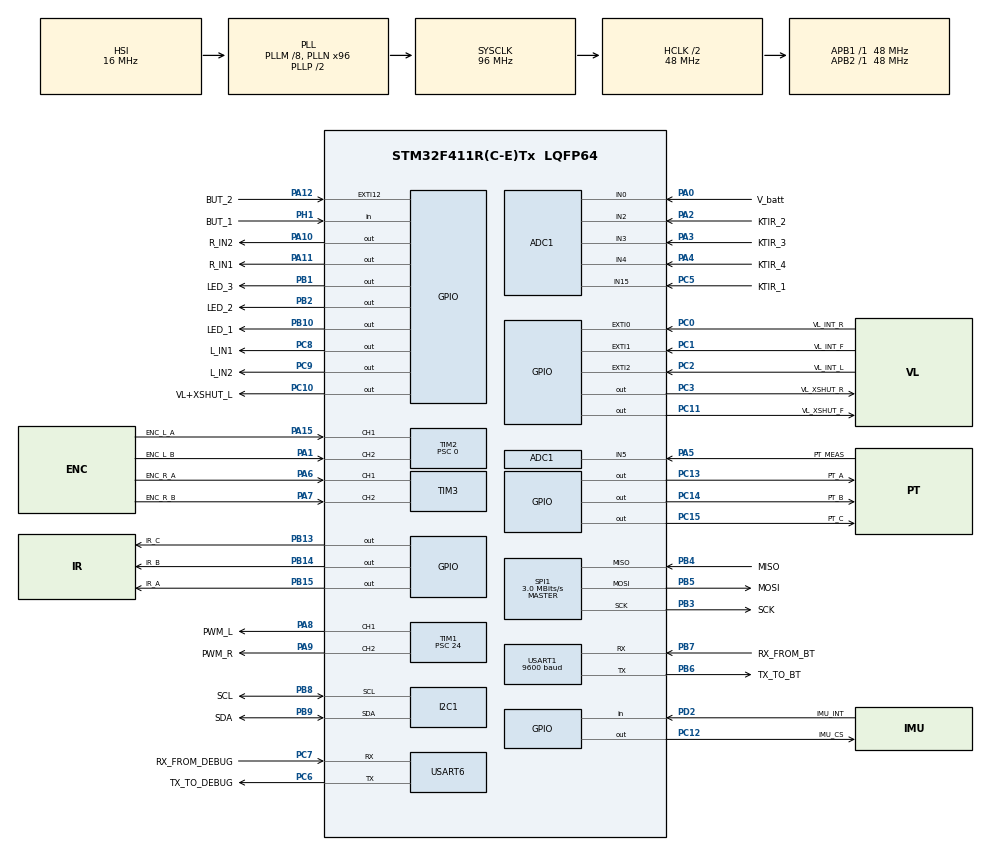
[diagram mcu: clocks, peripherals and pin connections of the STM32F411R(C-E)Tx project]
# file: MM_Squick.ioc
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ADC1.Channel-0\#ChannelRegularConversion=ADC_CHANNEL_0
ADC1.Channel-1\#ChannelRegularConversion=ADC_CHANNEL_15
ADC1.Channel-2\#ChannelRegularConversion=ADC_CHANNEL_2
ADC1.Channel-3\#ChannelRegularConversion=ADC_CHANNEL_3
ADC1.Channel-4\#ChannelRegularConversion=ADC_CHANNEL_4
ADC1.Channel-5\#ChannelRegularConversion=ADC_CHANNEL_5
ADC1.ClockPrescaler=ADC_CLOCK_SYNC_PCLK_DIV8
ADC1.ContinuousConvMode=ENABLE
ADC1.DMAContinuousRequests=ENABLE
ADC1.NbrOfConversion=6
ADC1.NbrOfConversionFlag=1
ADC1.Rank-0\#ChannelRegularConversion=1
ADC1.Rank-1\#ChannelRegularConversion=2
ADC1.Rank-2\#ChannelRegularConversion=3
ADC1.Rank-3\#ChannelRegularConversion=4
ADC1.Rank-4\#ChannelRegularConversion=5
ADC1.Rank-5\#ChannelRegularConversion=6
ADC1.SamplingTime-0\#ChannelRegularConversion=ADC_SAMPLETIME_480CYCLES
ADC1.SamplingTime-1\#ChannelRegularConversion=ADC_SAMPLETIME_480CYCLES
ADC1.SamplingTime-2\#ChannelRegularConversion=ADC_SAMPLETIME_480CYCLES
ADC1.SamplingTime-3\#ChannelRegularConversion=ADC_SAMPLETIME_480CYCLES
ADC1.SamplingTime-4\#ChannelRegularConversion=ADC_SAMPLETIME_480CYCLES
ADC1.SamplingTime-5\#ChannelRegularConversion=ADC_SAMPLETIME_480CYCLES
ADC1.ScanConvMode=ENABLE
ADC1.master=1
Dma.ADC1.0.Direction=DMA_PERIPH_TO_MEMORY
Dma.ADC1.0.FIFOMode=DMA_FIFOMODE_DISABLE
Dma.ADC1.0.Instance=DMA2_Stream0
Dma.ADC1.0.MemDataAlignment=DMA_MDATAALIGN_HALFWORD
Dma.ADC1.0.MemInc=DMA_MINC_ENABLE
Dma.ADC1.0.Mode=DMA_CIRCULAR
Dma.ADC1.0.PeriphDataAlignment=DMA_PDATAALIGN_HALFWORD
Dma.ADC1.0.PeriphInc=DMA_PINC_DISABLE
Dma.ADC1.0.Priority=DMA_PRIORITY_LOW
Dma.Request0=ADC1
I2C1.I2C_Mode=I2C_Standard
Mcu.Family=STM32F4
Mcu.Name=STM32F411R(C-E)Tx
Mcu.Package=LQFP64
NVIC.DMA2_Stream0_IRQn=true\:0\:0\:false\:false\:true\:false\:true
NVIC.EXTI0_IRQn=true\:0\:0\:false\:false\:true\:true\:true
NVIC.EXTI15_10_IRQn=true\:0\:0\:false\:false\:true\:true\:true
NVIC.EXTI1_IRQn=true\:0\:0\:false\:false\:true\:true\:true
NVIC.EXTI2_IRQn=true\:0\:0\:false\:false\:true\:true\:true
NVIC.PriorityGroup=NVIC_PRIORITYGROUP_4
NVIC.TIM1_TRG_COM_TIM11_IRQn=true\:0\:0\:false\:false\:true\:true\:true
NVIC.TIM1_UP_TIM10_IRQn=true\:0\:0\:false\:false\:true\:true\:true
NVIC.TIM2_IRQn=true\:0\:0\:false\:false\:true\:true\:true
NVIC.USART1_IRQn=true\:0\:0\:false\:false\:true\:true\:true
PA0-WKUP.GPIO_Label=V_batt
PA0-WKUP.Signal=ADCx_IN0
PA1.GPIO_Label=ENC_L_B
PA1.Signal=S_TIM2_CH2
PA10.GPIO_Label=R_IN2
PA10.Signal=GPIO_Output
PA11.GPIO_Label=R_IN1
PA11.Signal=GPIO_Output
PA12.GPIO_Label=BUT_2
PA12.Signal=GPXTI12
PA13.GPIO_Label=SYS_SWDIO
PA13.Mode=Serial_Wire
PA13.Signal=SYS_JTMS-SWDIO
PA14.GPIO_Label=SYS_SWCLK
PA14.Mode=Serial_Wire
PA14.Signal=SYS_JTCK-SWCLK
PA15.GPIO_Label=ENC_L_A
PA15.Signal=S_TIM2_CH1_ETR
PA2.GPIO_Label=KTIR_2
PA2.Signal=ADCx_IN2
PA3.GPIO_Label=KTIR_3
PA3.Signal=ADCx_IN3
PA4.GPIO_Label=KTIR_4
PA4.Signal=ADCx_IN4
PA5.GPIO_Label=PT_MEAS
PA5.Signal=ADCx_IN5
PA6.GPIO_Label=ENC_R_A
PA6.Signal=S_TIM3_CH1
PA7.GPIO_Label=ENC_R_B
PA7.Signal=S_TIM3_CH2
PA8.GPIO_Label=PWM_L
PA8.Signal=S_TIM1_CH1
PA9.GPIO_Label=PWM_R
PA9.Signal=S_TIM1_CH2
PB1.GPIO_Label=LED_3
PB1.GPIO_PuPd=GPIO_PULLUP
PB1.Signal=GPIO_Output
PB10.GPIO_Label=LED_1
PB10.GPIO_PuPd=GPIO_PULLUP
PB10.Signal=GPIO_Output
PB13.GPIO_Label=IR_C
PB13.GPIO_PuPd=GPIO_PULLDOWN
PB13.Signal=GPIO_Output
PB14.GPIO_Label=IR_B
PB14.GPIO_PuPd=GPIO_PULLDOWN
PB14.Signal=GPIO_Output
PB15.GPIO_Label=IR_A
PB15.GPIO_PuPd=GPIO_PULLDOWN
PB15.Signal=GPIO_Output
PB2.GPIO_Label=LED_2
PB2.GPIO_PuPd=GPIO_PULLUP
PB2.Signal=GPIO_Output
PB3.GPIO_Label=SCK
PB3.Mode=Full_Duplex_Master
PB3.Signal=SPI1_SCK
PB4.GPIO_Label=MISO
PB4.Mode=Full_Duplex_Master
PB4.Signal=SPI1_MISO
PB5.GPIO_Label=MOSI
PB5.Mode=Full_Duplex_Master
PB5.Signal=SPI1_MOSI
PB6.GPIO_Label=TX_TO_BT
PB6.Mode=Asynchronous
PB6.Signal=USART1_TX
PB7.GPIO_Label=RX_FROM_BT
PB7.Mode=Asynchronous
PB7.Signal=USART1_RX
PB8.GPIO_Label=SCL
PB8.Mode=I2C
PB8.Signal=I2C1_SCL
PB9.GPIO_Label=SDA
PB9.Mode=I2C
PB9.Signal=I2C1_SDA
PC0.GPIO_Label=VL_INT_R
PC0.Signal=GPXTI0
PC1.GPIO_Label=VL_INT_F
PC1.Signal=GPXTI1
PC10.GPIO_Label=VL+XSHUT_L
PC10.Signal=GPIO_Output
PC11.GPIO_Label=VL_XSHUT_F
PC11.Signal=GPIO_Output
PC12.GPIO_Label=IMU_CS
PC12.Signal=GPIO_Output
PC13-ANTI_TAMP.GPIO_Label=PT_A
PC13-ANTI_TAMP.GPIO_PuPd=GPIO_PULLDOWN
PC13-ANTI_TAMP.Signal=GPIO_Output
PC14-OSC32_IN.GPIO_Label=PT_B
PC14-OSC32_IN.GPIO_PuPd=GPIO_PULLDOWN
PC14-OSC32_IN.Signal=GPIO_Output
PC15-OSC32_OUT.GPIO_Label=PT_C
PC15-OSC32_OUT.GPIO_PuPd=GPIO_PULLDOWN
PC15-OSC32_OUT.Signal=GPIO_Output
PC2.GPIO_Label=VL_INT_L
PC2.Signal=GPXTI2
PC3.GPIO_Label=VL_XSHUT_R
PC3.Signal=GPIO_Output
PC5.GPIO_Label=KTIR_1
PC5.Signal=ADCx_IN15
PC6.GPIO_Label=TX_TO_DEBUG
PC6.Mode=Asynchronous
PC6.Signal=USART6_TX
PC7.GPIO_Label=RX_FROM_DEBUG
PC7.Mode=Asynchronous
PC7.Signal=USART6_RX
PC8.GPIO_Label=L_IN1
PC8.Signal=GPIO_Output
PC9.GPIO_Label=L_IN2
PC9.Signal=GPIO_Output
PD2.GPIO_Label=IMU_INT
PD2.Signal=GPIO_Input
PH1\ -\ OSC_OUT.GPIO_Label=BUT_1
PH1\ -\ OSC_OUT.Signal=GPIO_Input
ProjectManager.HeapSize=0x200
ProjectManager.StackSize=0x400
ProjectManager.TargetToolchain=STM32CubeIDE
RCC.48MHZClocksFreq_Value=48000000
RCC.AHBCLKDivider=RCC_SYSCLK_DIV2
RCC.AHBFreq_Value=48000000
RCC.APB1Freq_Value=48000000
RCC.APB1TimFreq_Value=48000000
RCC.APB2Freq_Value=48000000
RCC.APB2TimFreq_Value=48000000
RCC.CortexFreq_Value=48000000
RCC.HCLKFreq_Value=48000000
RCC.HSE_VALUE=25000000
RCC.HSI_VALUE=16000000
RCC.LSE_VALUE=32768
RCC.PLLM=8
RCC.PLLN=96
RCC.SYSCLKFreq_VALUE=96000000
RCC.SYSCLKSource=RCC_SYSCLKSOURCE_PLLCLK
RCC.VCOOutputFreq_Value=192000000
SH.ADCx_IN0.0=ADC1_IN0,IN0
SH.ADCx_IN15.0=ADC1_IN15,IN15
SH.ADCx_IN2.0=ADC1_IN2,IN2
SH.ADCx_IN3.0=ADC1_IN3,IN3
SH.ADCx_IN4.0=ADC1_IN4,IN4
SH.ADCx_IN5.0=ADC1_IN5,IN5
SH.S_TIM1_CH1.0=TIM1_CH1,PWM Generation1 CH1
SH.S_TIM1_CH2.0=TIM1_CH2,PWM Generation2 CH2
SH.S_TIM2_CH1_ETR.0=TIM2_CH1,Encoder_Interface
SH.S_TIM2_CH2.0=TIM2_CH2,Encoder_Interface
SH.S_TIM3_CH1.0=TIM3_CH1,Encoder_Interface
SH.S_TIM3_CH2.0=TIM3_CH2,Encoder_Interface
SPI1.BaudRatePrescaler=SPI_BAUDRATEPRESCALER_16
SPI1.CalculateBaudRate=3.0 MBits/s
SPI1.Direction=SPI_DIRECTION_2LINES
SPI1.Mode=SPI_MODE_MASTER
SPI1.VirtualType=VM_MASTER
TIM1.Channel-PWM\ Generation1\ CH1=TIM_CHANNEL_1
TIM1.Channel-PWM\ Generation2\ CH2=TIM_CHANNEL_2
TIM1.Period=9999
TIM1.Prescaler=24
TIM10.Period=999
TIM10.Prescaler=1999
TIM11.Period=9999
TIM11.Prescaler=4799
TIM2.CounterMode=TIM_COUNTERMODE_DOWN
TIM2.EncoderMode=TIM_ENCODERMODE_TI1
TIM2.IC1Filter=2
TIM2.IC2Filter=2
TIM2.Period=65535
TIM2.Prescaler=0
TIM3.EncoderMode=TIM_ENCODERMODE_TI1
TIM3.IC1Filter=2
TIM3.IC2Filter=2
USART1.BaudRate=9600
USART1.VirtualMode=VM_ASYNC
USART6.VirtualMode=VM_ASYNC
VP_TIM10_VS_ClockSourceINT.Mode=Enable_Timer
VP_TIM11_VS_ClockSourceINT.Mode=Enable_Timer
VP_TIM1_VS_ClockSourceINT.Mode=Internal
board=custom

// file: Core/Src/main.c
/* USER CODE BEGIN Header */
/**
  ******************************************************************************
  * @file           : main.c
  * @brief          : Main program body
  ******************************************************************************
  * @attention
  *
  * <h2><center>&copy; Copyright (c) 2021 STMicroelectronics.
  * All rights reserved.</center></h2>
  *
  * This software component is licensed by ST under BSD 3-Clause license,
  * the "License"; You may not use this file except in compliance with the
  * License. You may obtain a copy of the License at:
  *                        opensource.org/licenses/BSD-3-Clause
  *
  ******************************************************************************
  */
/* USER CODE END Header */
#include "main.h"

/* USER CODE BEGIN Includes */
#include "pid.h"
#include "VL53L0X.h"
/* USER CODE END Includes */

/* USER CODE BEGIN PTD */
struct encoder{
	int curr_speed; // mm/s *10
	int absolute_pos; // mm *10
};
/* USER CODE END PTD */

/* USER CODE BEGIN PD */
#define MOTOR_MAX 9999
#define ENC_ZERO 32768
/* USER CODE END PD */

ADC_HandleTypeDef hadc1;
DMA_HandleTypeDef hdma_adc1;

I2C_HandleTypeDef hi2c1;

SPI_HandleTypeDef hspi1;

TIM_HandleTypeDef htim1;
TIM_HandleTypeDef htim2;
TIM_HandleTypeDef htim3;
TIM_HandleTypeDef htim10;
TIM_HandleTypeDef htim11;

UART_HandleTypeDef huart1;
UART_HandleTypeDef huart6;

/* USER CODE BEGIN PV */
int pwm_value=0;
volatile struct encoder ENC_L, ENC_P;

int rozpocznij_pomiar=0;
int prog=0;
uint32_t pomiar[10];

int debug=0;

uint16_t predkosc_zadana = 0;
uint16_t zasilanie=0;

uint8_t bt_data;
uint8_t bt_settings[14];
int transmission_request=0;

uint8_t direction=0;
volatile uint8_t rx_flag=0;
volatile uint8_t vl_flag=0;
volatile uint8_t timer_flag=0;
volatile uint8_t adc_flag=0;
volatile short speed_mm=0;
volatile uint8_t option=0;
volatile uint8_t initialization_encoders=0;
volatile uint8_t direction_set[2]={0,0};
volatile short kp=0,ki=0,kd=0;
cpid_t pid_L, pid_P;

vl_struct VLS;
VL53L0X_DEV dev;

volatile uint16_t adc_measurements[6];

int16_t VLdistanceL=0;
int16_t VLdistanceF=0;
int16_t VLdistanceR=0;
/* USER CODE END PV */

void SystemClock_Config(void);
static void MX_GPIO_Init(void);
static void MX_DMA_Init(void);
static void MX_I2C1_Init(void);
static void MX_USART1_UART_Init(void);
static void MX_USART6_UART_Init(void);
static void MX_TIM1_Init(void);
static void MX_ADC1_Init(void);
static void MX_SPI1_Init(void);
static void MX_TIM2_Init(void);
static void MX_TIM3_Init(void);
static void MX_TIM10_Init(void);
static void MX_TIM11_Init(void);
/* USER CODE BEGIN PFP */
int _write(int file, uint8_t *ptr, int len){
	HAL_UART_Transmit(&huart1, ptr, len, 100);
	return  len;
};

int abs(int zmienna) {
	if (zmienna < 0) {
		zmienna = -zmienna;
	};
	return zmienna;
}

void read_encoders(){
	printf("LEFT  :  POS[mm] : %d     VEL[mm/s] : %d  \r\n", ENC_L.absolute_pos/10, ENC_L.curr_speed/10);
	printf("RIGHT :  POS[mm] : %d     VEL[mm/s] : %d  \r\n", ENC_P.absolute_pos/10, ENC_P.curr_speed/10);
}

void get_encoder_pos(){
	int diff=0;
	int pos_L=0, pos_P=0;
	pos_L = htim2.Instance->CNT;
	pos_P = htim3.Instance->CNT;
	htim2.Instance->CNT = ENC_ZERO;
	htim3.Instance->CNT = ENC_ZERO;

	diff = pos_L - ENC_ZERO;
	diff = diff*170/51;
	ENC_L.absolute_pos -= diff;
	ENC_L.curr_speed = - diff*463/10;

	diff = pos_P - ENC_ZERO;
	diff = diff*170/51;
	ENC_P.absolute_pos += diff;
	ENC_P.curr_speed = diff*463/10;
}

void HAL_UART_TxCpltCallback(UART_HandleTypeDef *huart){

	transmission_request=0;
	bt_data=0;
	//HAL_UART_Receive_IT(&huart1, &bt_data, 1);

}

void HAL_UART_ErrorCallback(UART_HandleTypeDef *huart){
	__NOP();
}

void HAL_UART_RxCpltCallback(UART_HandleTypeDef *huart){

	if(huart->Instance==USART1){
//		if(transmission_request==100){ 					// SET PARAMETERS
//			data_decrypt();
//			transmission_request=0;
//			bt_data=0;
//			HAL_UART_Receive_IT(&huart1, &bt_data, 1);
//		}else{											// UNRECOGNIZED OR ZERO
//			transmission_request=bt_data;
//			if(bt_data==100){
//				HAL_UART_Receive_IT(&huart1, bt_settings, 14);
//			}else if(bt_data==101){
//				data_encrypt();
//				HAL_UART_Transmit_IT(&huart1, bt_settings, 14);
//			}else{
//				HAL_UART_Receive_IT(&huart1, &bt_data, 1);
//			};
//		};
		rx_flag=1;
		if(bt_data=='w'){
			direction='w';
		}
		if(bt_data=='s'){
			direction='s';
		}
		if(bt_data=='a'){
			direction='a';
		}
		if(bt_data=='d'){
			direction='d';
		}
		if(bt_data=='p'){
			option='p';
		}
		if(bt_data==']'){
			option=']';
		}
		if(bt_data=='r'){
			option='r';
		}
		if(bt_data=='z'){
			option='z';
		}
		if(bt_data=='g'){
			option='g';
		}
		if(bt_data=='k'){
			option='k';
		}
		if(bt_data=='0'){
			speed_mm=0;
		}
		if(bt_data=='1'){
			speed_mm=100;
		}
		if(bt_data=='2'){
			speed_mm=200;
		}
		if(bt_data=='3'){
			speed_mm=300;
		}
		if(bt_data=='4'){
			speed_mm=400;
		}
		if(bt_data=='5'){
			speed_mm=500;
		}
		if(bt_data=='6'){
			speed_mm=600;
		}
		if(bt_data=='7'){
			speed_mm=700;
		}
		if(bt_data=='8'){
			speed_mm=800;
		}
		if(bt_data=='9'){
			speed_mm=900;
		}
		if(bt_data=='c'){
			option='Q';
			kp++;
		}
		if(bt_data=='v'){
			option='Q';
			kp--;
		}
		if(bt_data=='b'){
			option='Q';
			ki++;
		}
		if(bt_data=='n'){
			option='Q';
			ki--;
		}
		if(bt_data=='m'){
			option='Q';
			kd++;
		}
		if(bt_data==','){
			option='Q';
			kd--;
		}
		if(bt_data=='='){
			option='=';
		}
		HAL_UART_Receive_IT(&huart1, &bt_data, 1);
	};

}

void HAL_TIM_PeriodElapsedCallback(TIM_HandleTypeDef *htim){
	if(htim->Instance==TIM10){
		get_encoder_pos();
		if(initialization_encoders==0){
			initialization_encoders=1;
			ENC_P.absolute_pos=0;
			ENC_L.absolute_pos=0;

		}
		timer_flag=1;
	}
	if(htim->Instance==TIM11){
		adc_flag=1;
	}
}

void HAL_GPIO_EXTI_Callback(uint16_t GPIO_Pin) {
	if(GPIO_Pin==BUT_2_Pin){
		HAL_GPIO_TogglePin(LED_2_GPIO_Port, LED_2_Pin);
		pwm_value-=50;
		printf("Kliknieto BUT_2  PWM = %d \r\n", pwm_value);
	}
	if(GPIO_Pin == VL_INT_L_Pin){  // left sensor
		printf("LEWY READY \r\n");
		VL_Data_Ready[0] = 1;
		vl_flag=1;
	}
	if(GPIO_Pin == VL_INT_F_Pin){  // front sensor
		printf("FRONT READY \r\n");
		VL_Data_Ready[1] = 1;
		vl_flag=1;
	}
	if(GPIO_Pin == VL_INT_R_Pin){  // right sensor
		printf("PRAWY READY \r\n");
		VL_Data_Ready[2] = 1;
		vl_flag=1;
	}
}

void PWM(int lewy, int prawy) {
	if (lewy >= 0) {
		if (lewy > MOTOR_MAX) {
			lewy = MOTOR_MAX;
		};
		if(direction_set[0]!=1){
			HAL_GPIO_WritePin(L_IN1_GPIO_Port, L_IN1_Pin, 1);
			HAL_GPIO_WritePin(L_IN2_GPIO_Port, L_IN2_Pin, 0);
			direction_set[0]=1;
		}
	} else if (lewy < 0) {
		if (lewy < -MOTOR_MAX) {
			lewy = -MOTOR_MAX;
		};
		if(direction_set[0]!=2){
			HAL_GPIO_WritePin(L_IN1_GPIO_Port, L_IN1_Pin, 0);
			HAL_GPIO_WritePin(L_IN2_GPIO_Port, L_IN2_Pin, 1);
			direction_set[0]=2;
		}

	};

	if (prawy >= 0) {
		if (prawy > MOTOR_MAX) {
			prawy = MOTOR_MAX;
		};
		if(direction_set[1]!=1){
			HAL_GPIO_WritePin(R_IN1_GPIO_Port, R_IN1_Pin, 0);
			HAL_GPIO_WritePin(R_IN2_GPIO_Port, R_IN2_Pin, 1);
			direction_set[1]=1;
		}
	} else if (prawy < 0) {
		if (prawy < -MOTOR_MAX) {
			prawy = -MOTOR_MAX;
		};
		if(direction_set[1]!=2){
			HAL_GPIO_WritePin(R_IN1_GPIO_Port, R_IN1_Pin, 1);
			HAL_GPIO_WritePin(R_IN2_GPIO_Port, R_IN2_Pin, 0);
			direction_set[1]=2;
		}
	};

	if(prawy==0 && lewy==0){
		direction_set[1]=0;
		direction_set[0]=0;
		HAL_GPIO_WritePin(R_IN1_GPIO_Port, R_IN1_Pin, 1);
		HAL_GPIO_WritePin(R_IN2_GPIO_Port, R_IN2_Pin, 1);
		HAL_GPIO_WritePin(L_IN1_GPIO_Port, L_IN1_Pin, 1);
		HAL_GPIO_WritePin(L_IN2_GPIO_Port, L_IN2_Pin, 1);

	}
	__HAL_TIM_SET_COMPARE(&htim1 , TIM_CHANNEL_1, abs(lewy));
	__HAL_TIM_SET_COMPARE(&htim1 , TIM_CHANNEL_2, abs(prawy));
}

void pos_and_speed_measurement(){
	PWM(speed_mm*10, speed_mm*10);
	for(int i=0; i<10; i++){
		HAL_Delay(100);
		read_encoders();
	}
	PWM(0,0);

}

void initialize_PID(short k_p, short k_i, short k_d){
	  //Regulator został nastrojony przy pomocy metody ręcznej
	  // Najpierw zmieniając Kp aż do wystąpienia oscylacji i wybrać polowe wartosci
	  // Potem ustalając Ki az do skrocenia czasu regulacji
	  // Na koncu regulacja Kd

	  pid_init(&pid_L, kp*0.1f, ki*0.01f, kd*0.01f, 4, 40);  // 10ms ze wzgledu na 25Hz
	  pid_L.p_max = pid_scale(&pid_L, MOTOR_MAX);
	  pid_L.p_min = pid_scale(&pid_L, -MOTOR_MAX);
	  pid_L.i_max = pid_scale(&pid_L, MOTOR_MAX);
	  pid_L.i_min = pid_scale(&pid_L, -MOTOR_MAX);
	  pid_L.d_max = pid_scale(&pid_L, MOTOR_MAX);
	  pid_L.d_min = pid_scale(&pid_L, -MOTOR_MAX);
	  pid_L.total_max = pid_scale(&pid_L, MOTOR_MAX);
	  pid_L.total_min = pid_scale(&pid_L, -MOTOR_MAX);

	  //Regulator został nastrojony przy pomocy metody ręcznej
	  // Najpierw zmieniając Kp aż do wystąpienia oscylacji i wybrać polowe wartosci
	  // Potem ustalając Ki az do skrocenia czasu regulacji
	  // Na koncu regulacja Kd
	  pid_init(&pid_P, kp*0.1f, ki*0.01f, kd*0.01f, 4, 40);  // 40ms ze wzgledu na 25Hz
	  pid_P.p_max = pid_scale(&pid_P, MOTOR_MAX);
	  pid_P.p_min = pid_scale(&pid_P, -MOTOR_MAX);
	  pid_P.i_max = pid_scale(&pid_P, MOTOR_MAX);
	  pid_P.i_min = pid_scale(&pid_P, -MOTOR_MAX);
	  pid_P.d_max = pid_scale(&pid_P, MOTOR_MAX);
	  pid_P.d_min = pid_scale(&pid_P, -MOTOR_MAX);
	  pid_P.total_max = pid_scale(&pid_P, MOTOR_MAX);
	  pid_P.total_min = pid_scale(&pid_P, -MOTOR_MAX);
}

void PT_change_sensor(uint8_t sensor){
	if(sensor==0){
		HAL_GPIO_WritePin(PT_A_GPIO_Port, PT_A_Pin, GPIO_PIN_RESET);
		HAL_GPIO_WritePin(PT_B_GPIO_Port, PT_B_Pin, GPIO_PIN_RESET);
		HAL_GPIO_WritePin(PT_C_GPIO_Port, PT_C_Pin, GPIO_PIN_RESET);
	}
	else if(sensor==1){
		HAL_GPIO_WritePin(PT_A_GPIO_Port, PT_A_Pin, GPIO_PIN_SET);
		HAL_GPIO_WritePin(PT_B_GPIO_Port, PT_B_Pin, GPIO_PIN_RESET);
		HAL_GPIO_WritePin(PT_C_GPIO_Port, PT_C_Pin, GPIO_PIN_RESET);
	}
	else if(sensor==2){
		HAL_GPIO_WritePin(PT_A_GPIO_Port, PT_A_Pin, GPIO_PIN_RESET);
		HAL_GPIO_WritePin(PT_B_GPIO_Port, PT_B_Pin, GPIO_PIN_SET);
		HAL_GPIO_WritePin(PT_C_GPIO_Port, PT_C_Pin, GPIO_PIN_RESET);
	}
	else if(sensor==3){
		HAL_GPIO_WritePin(PT_A_GPIO_Port, PT_A_Pin, GPIO_PIN_SET);
		HAL_GPIO_WritePin(PT_B_GPIO_Port, PT_B_Pin, GPIO_PIN_SET);
		HAL_GPIO_WritePin(PT_C_GPIO_Port, PT_C_Pin, GPIO_PIN_RESET);
	}
	else if(sensor==4){
		HAL_GPIO_WritePin(PT_A_GPIO_Port, PT_A_Pin, GPIO_PIN_RESET);
		HAL_GPIO_WritePin(PT_B_GPIO_Port, PT_B_Pin, GPIO_PIN_RESET);
		HAL_GPIO_WritePin(PT_C_GPIO_Port, PT_C_Pin, GPIO_PIN_RESET);
	}
	else if(sensor==5){
		HAL_GPIO_WritePin(PT_A_GPIO_Port, PT_A_Pin, GPIO_PIN_SET);
		HAL_GPIO_WritePin(PT_B_GPIO_Port, PT_B_Pin, GPIO_PIN_RESET);
		HAL_GPIO_WritePin(PT_C_GPIO_Port, PT_C_Pin, GPIO_PIN_SET);
	}
	else{
		HAL_GPIO_WritePin(PT_A_GPIO_Port, PT_A_Pin, GPIO_PIN_SET);
		HAL_GPIO_WritePin(PT_B_GPIO_Port, PT_B_Pin, GPIO_PIN_SET);
		HAL_GPIO_WritePin(PT_C_GPIO_Port, PT_C_Pin, GPIO_PIN_SET);
	}
}

void IR_set(uint8_t diode){
	if(diode==0){
		HAL_GPIO_WritePin(IR_A_GPIO_Port, IR_A_Pin, GPIO_PIN_RESET);
		HAL_GPIO_WritePin(IR_B_GPIO_Port, IR_B_Pin, GPIO_PIN_RESET);
		HAL_GPIO_WritePin(IR_C_GPIO_Port, IR_C_Pin, GPIO_PIN_RESET);
	}
	else if(diode==1){
		HAL_GPIO_WritePin(IR_A_GPIO_Port, IR_A_Pin, GPIO_PIN_SET);
		HAL_GPIO_WritePin(IR_B_GPIO_Port, IR_B_Pin, GPIO_PIN_RESET);
		HAL_GPIO_WritePin(IR_C_GPIO_Port, IR_C_Pin, GPIO_PIN_RESET);
	}
	else if(diode==2){
		HAL_GPIO_WritePin(IR_A_GPIO_Port, IR_A_Pin, GPIO_PIN_RESET);
		HAL_GPIO_WritePin(IR_B_GPIO_Port, IR_B_Pin, GPIO_PIN_SET);
		HAL_GPIO_WritePin(IR_C_GPIO_Port, IR_C_Pin, GPIO_PIN_RESET);
	}
	else if(diode==3){
		HAL_GPIO_WritePin(IR_A_GPIO_Port, IR_A_Pin, GPIO_PIN_SET);
		HAL_GPIO_WritePin(IR_B_GPIO_Port, IR_B_Pin, GPIO_PIN_SET);
		HAL_GPIO_WritePin(IR_C_GPIO_Port, IR_C_Pin, GPIO_PIN_RESET);
	}
	else if(diode==4){
		HAL_GPIO_WritePin(IR_A_GPIO_Port, IR_A_Pin, GPIO_PIN_RESET);
		HAL_GPIO_WritePin(IR_B_GPIO_Port, IR_B_Pin, GPIO_PIN_RESET);
		HAL_GPIO_WritePin(IR_C_GPIO_Port, IR_C_Pin, GPIO_PIN_RESET);
	}
	else if(diode==5){
		HAL_GPIO_WritePin(IR_A_GPIO_Port, IR_A_Pin, GPIO_PIN_SET);
		HAL_GPIO_WritePin(IR_B_GPIO_Port, IR_B_Pin, GPIO_PIN_RESET);
		HAL_GPIO_WritePin(IR_C_GPIO_Port, IR_C_Pin, GPIO_PIN_SET);
	}
	else{
		HAL_GPIO_WritePin(IR_A_GPIO_Port, IR_A_Pin, GPIO_PIN_SET);
		HAL_GPIO_WritePin(IR_B_GPIO_Port, IR_B_Pin, GPIO_PIN_SET);
		HAL_GPIO_WritePin(IR_C_GPIO_Port, IR_C_Pin, GPIO_PIN_SET);
	}
}

void IR_reset(){
	IR_set(99);
}

/* USER CODE END PFP */

int main(void)
{
  /* USER CODE BEGIN 1 */
	int L_pwm_pid=0, P_pwm_pid=0;
	uint8_t sensor;
  /* USER CODE END 1 */

  /* MCU Configuration--------------------------------------------------------*/

  /* Reset of all peripherals, Initializes the Flash interface and the Systick. */
  HAL_Init();

  /* Configure the system clock */
  SystemClock_Config();

  /* Initialize all configured peripherals */
  MX_GPIO_Init();
  MX_DMA_Init();
  MX_I2C1_Init();
  MX_USART1_UART_Init();
  MX_USART6_UART_Init();
  MX_TIM1_Init();
  MX_ADC1_Init();
  MX_SPI1_Init();
  MX_TIM2_Init();
  MX_TIM3_Init();
  MX_TIM10_Init();
  MX_TIM11_Init();
  /* USER CODE BEGIN 2 */
  __HAL_TIM_SET_COMPARE(&htim1 , TIM_CHANNEL_1, 0 );
  __HAL_TIM_SET_COMPARE(&htim1 , TIM_CHANNEL_2, 0 );
  HAL_TIM_PWM_Start(&htim1 , TIM_CHANNEL_1);
  HAL_TIM_PWM_Start(&htim1 , TIM_CHANNEL_2);
  HAL_GPIO_WritePin(L_IN1_GPIO_Port, L_IN1_Pin, GPIO_PIN_RESET);
  HAL_GPIO_WritePin(L_IN2_GPIO_Port, L_IN2_Pin, GPIO_PIN_SET);
  HAL_GPIO_WritePin(R_IN1_GPIO_Port, R_IN1_Pin, GPIO_PIN_RESET);
  HAL_GPIO_WritePin(R_IN2_GPIO_Port, R_IN2_Pin, GPIO_PIN_SET);
  HAL_GPIO_WritePin(LED_1_GPIO_Port, LED_1_Pin, GPIO_PIN_SET);
  HAL_GPIO_WritePin(LED_2_GPIO_Port, LED_2_Pin, GPIO_PIN_SET);
  HAL_GPIO_WritePin(LED_3_GPIO_Port, LED_3_Pin, GPIO_PIN_SET);
  HAL_UART_Receive_IT(&huart1, &bt_data, 1);
  VL_Init_All(&hi2c1);
  HAL_TIM_Base_Start_IT(&htim10);
  HAL_TIM_Base_Start_IT(&htim11);
  HAL_TIM_Encoder_Start(&htim3, TIM_CHANNEL_ALL);
  HAL_TIM_Encoder_Start(&htim2, TIM_CHANNEL_ALL);
  htim2.Instance->CNT = ENC_ZERO;
  htim3.Instance->CNT = ENC_ZERO;

  initialize_PID(kp, ki, kd);

  HAL_ADC_Start_DMA(&hadc1, adc_measurements, 6);

  /* USER CODE END 2 */

  /* Infinite loop */
  while (1)
  {

    /* USER CODE BEGIN 3 */
	  if(adc_flag==1){

		  adc_flag=0;
	  }
	  if(adc_measurements[0]<2700){
		  HAL_Delay(1000);
		  HAL_GPIO_TogglePin(LED_3_GPIO_Port, LED_3_Pin);
	  }else{
		  if(timer_flag==1){
		  		  timer_flag=0;
		  		  L_pwm_pid = pid_calc(&pid_L, ENC_L.curr_speed, speed_mm*10);
		  		  P_pwm_pid = pid_calc(&pid_P, ENC_P.curr_speed, speed_mm*10);
		  		  if(option=='g'){
		  			  printf("SET: %d     MEAS:  %d     RES:  %d \r\n", speed_mm*10, ENC_L.curr_speed, L_pwm_pid );
		  			  PWM(speed_mm*10+L_pwm_pid, speed_mm*10+P_pwm_pid);
		  		  }
		  	  }
		  	  if(rx_flag==1){
		  		  switch(direction){
					 case 'w':
						  PWM(speed_mm*10,speed_mm*10);
						  break;
					  case 'a':
						  PWM(-speed_mm*6,speed_mm*6);
						  break;
					  case 's':
						  PWM(-speed_mm*10,-speed_mm*10);
						  break;
					  case 'd':
						  PWM(speed_mm*6,-speed_mm*6);
						  break;
		  		  }
		  		  if(direction != ' '){
		  			  HAL_Delay(100);
		  			  printf("Stopping\r\n");
		  			  PWM(0,0);
		  			  direction=' ';
		  		  }

		  		  switch(option){
		  		case 'k':
					  sensor = speed_mm/100;
					  printf("Measuring IR %d sensor value .... \r\n", sensor);
					  PT_change_sensor(sensor);
					  IR_set(sensor);
					  HAL_Delay(250);
					  printf("ADC MEASUREMENTS \r\n");
					  printf(" Batt : %d \r\n", adc_measurements[0]);
					  printf(" KTIR_1 : %d \r\n", adc_measurements[1]);
					  printf(" KTIR_2 : %d \r\n", adc_measurements[2]);
					  printf(" KTIR_3 : %d \r\n", adc_measurements[3]);
					  printf(" KTIR_4 : %d \r\n", adc_measurements[4]);
					  printf(" IR sensor : %d \r\n", adc_measurements[5]);
					  option=' ';
					  break;
		  		  case 'p':
		  			  read_encoders();
		  			  option=' ';
		  			  break;
		  		  case 'Q':
		  			  printf("Kp %d  Ki  %d  Kd  %d \r\n", kp, ki, kd );
		  			  initialize_PID(kp, ki, kd);
		  			  break;
		  		  case 'z':
		  			  ENC_L.absolute_pos=0;
		  			  ENC_P.absolute_pos=0;
		  			  option=' ';
		  			  break;
		  		  case ']':
		  			  pos_and_speed_measurement();
		  			  option=' ';
		  			  break;
		  		  case 'r':
		  			  PWM(speed_mm*10, speed_mm*10);
		  			  option=' ';
		  			  break;
		  		  case '=':
		  			f_SH_ClearMemory(VLS.MEMORY);
		  			printf("Clear memory VL\r\n");
		  			VL_Check();
		  			VL_single_measurement_blocking(dev, VLdistanceL);
		  			printf("VL_L: %d %d \r\n", VLS.MEMORY[0], VLS.STATE[0]);
		  			break;
		  		  case 'g':
		  			  break;
		  		  }
		  		  rx_flag=0;
		  	  }
	  }
  }
  /* USER CODE END 3 */
}

void SystemClock_Config(void)
{
  RCC_OscInitTypeDef RCC_OscInitStruct = {0};
  RCC_ClkInitTypeDef RCC_ClkInitStruct = {0};

  /** Configure the main internal regulator output voltage
  */
  __HAL_RCC_PWR_CLK_ENABLE();
  __HAL_PWR_VOLTAGESCALING_CONFIG(PWR_REGULATOR_VOLTAGE_SCALE1);
  /** Initializes the RCC Oscillators according to the specified parameters
  * in the RCC_OscInitTypeDef structure.
  */
  RCC_OscInitStruct.OscillatorType = RCC_OSCILLATORTYPE_HSI;
  RCC_OscInitStruct.HSIState = RCC_HSI_ON;
  RCC_OscInitStruct.HSICalibrationValue = RCC_HSICALIBRATION_DEFAULT;
  RCC_OscInitStruct.PLL.PLLState = RCC_PLL_ON;
  RCC_OscInitStruct.PLL.PLLSource = RCC_PLLSOURCE_HSI;
  RCC_OscInitStruct.PLL.PLLM = 8;
  RCC_OscInitStruct.PLL.PLLN = 96;
  RCC_OscInitStruct.PLL.PLLP = RCC_PLLP_DIV2;
  RCC_OscInitStruct.PLL.PLLQ = 4;
  if (HAL_RCC_OscConfig(&RCC_OscInitStruct) != HAL_OK)
  {
    Error_Handler();
  }
  /** Initializes the CPU, AHB and APB buses clocks
  */
  RCC_ClkInitStruct.ClockType = RCC_CLOCKTYPE_HCLK|RCC_CLOCKTYPE_SYSCLK
                              |RCC_CLOCKTYPE_PCLK1|RCC_CLOCKTYPE_PCLK2;
  RCC_ClkInitStruct.SYSCLKSource = RCC_SYSCLKSOURCE_PLLCLK;
  RCC_ClkInitStruct.AHBCLKDivider = RCC_SYSCLK_DIV2;
  RCC_ClkInitStruct.APB1CLKDivider = RCC_HCLK_DIV1;
  RCC_ClkInitStruct.APB2CLKDivider = RCC_HCLK_DIV1;

  if (HAL_RCC_ClockConfig(&RCC_ClkInitStruct, FLASH_LATENCY_1) != HAL_OK)
  {
    Error_Handler();
  }
}

static void MX_ADC1_Init(void)
{

  ADC_ChannelConfTypeDef sConfig = {0};

  /** Configure the global features of the ADC (Clock, Resolution, Data Alignment and number of conversion)
  */
  hadc1.Instance = ADC1;
  hadc1.Init.ClockPrescaler = ADC_CLOCK_SYNC_PCLK_DIV8;
  hadc1.Init.Resolution = ADC_RESOLUTION_12B;
  hadc1.Init.ScanConvMode = ENABLE;
  hadc1.Init.ContinuousConvMode = ENABLE;
  hadc1.Init.DiscontinuousConvMode = DISABLE;
  hadc1.Init.ExternalTrigConvEdge = ADC_EXTERNALTRIGCONVEDGE_NONE;
  hadc1.Init.ExternalTrigConv = ADC_SOFTWARE_START;
  hadc1.Init.DataAlign = ADC_DATAALIGN_RIGHT;
  hadc1.Init.NbrOfConversion = 6;
  hadc1.Init.DMAContinuousRequests = ENABLE;
  hadc1.Init.EOCSelection = ADC_EOC_SINGLE_CONV;
  if (HAL_ADC_Init(&hadc1) != HAL_OK)
  {
    Error_Handler();
  }
  /** Configure for the selected ADC regular channel its corresponding rank in the sequencer and its sample time.
  */
  sConfig.Channel = ADC_CHANNEL_0;
  sConfig.Rank = 1;
  sConfig.SamplingTime = ADC_SAMPLETIME_480CYCLES;
  if (HAL_ADC_ConfigChannel(&hadc1, &sConfig) != HAL_OK)
  {
    Error_Handler();
  }
  /** Configure for the selected ADC regular channel its corresponding rank in the sequencer and its sample time.
  */
  sConfig.Channel = ADC_CHANNEL_15;
  sConfig.Rank = 2;
  if (HAL_ADC_ConfigChannel(&hadc1, &sConfig) != HAL_OK)
  {
    Error_Handler();
  }
  /** Configure for the selected ADC regular channel its corresponding rank in the sequencer and its sample time.
  */
  sConfig.Channel = ADC_CHANNEL_2;
  sConfig.Rank = 3;
  if (HAL_ADC_ConfigChannel(&hadc1, &sConfig) != HAL_OK)
  {
    Error_Handler();
  }
  /** Configure for the selected ADC regular channel its corresponding rank in the sequencer and its sample time.
  */
  sConfig.Channel = ADC_CHANNEL_3;
  sConfig.Rank = 4;
  if (HAL_ADC_ConfigChannel(&hadc1, &sConfig) != HAL_OK)
  {
    Error_Handler();
  }
  /** Configure for the selected ADC regular channel its corresponding rank in the sequencer and its sample time.
  */
  sConfig.Channel = ADC_CHANNEL_4;
  sConfig.Rank = 5;
  if (HAL_ADC_ConfigChannel(&hadc1, &sConfig) != HAL_OK)
  {
    Error_Handler();
  }
  /** Configure for the selected ADC regular channel its corresponding rank in the sequencer and its sample time.
  */
  sConfig.Channel = ADC_CHANNEL_5;
  sConfig.Rank = 6;
  if (HAL_ADC_ConfigChannel(&hadc1, &sConfig) != HAL_OK)
  {
    Error_Handler();
  }

}

static void MX_I2C1_Init(void)
{

  hi2c1.Instance = I2C1;
  hi2c1.Init.ClockSpeed = 100000;
  hi2c1.Init.DutyCycle = I2C_DUTYCYCLE_2;
  hi2c1.Init.OwnAddress1 = 0;
  hi2c1.Init.AddressingMode = I2C_ADDRESSINGMODE_7BIT;
  hi2c1.Init.DualAddressMode = I2C_DUALADDRESS_DISABLE;
  hi2c1.Init.OwnAddress2 = 0;
  hi2c1.Init.GeneralCallMode = I2C_GENERALCALL_DISABLE;
  hi2c1.Init.NoStretchMode = I2C_NOSTRETCH_DISABLE;
  if (HAL_I2C_Init(&hi2c1) != HAL_OK)
  {
    Error_Handler();
  }

}

static void MX_SPI1_Init(void)
{

  /* SPI1 parameter configuration*/
  hspi1.Instance = SPI1;
  hspi1.Init.Mode = SPI_MODE_MASTER;
  hspi1.Init.Direction = SPI_DIRECTION_2LINES;
  hspi1.Init.DataSize = SPI_DATASIZE_8BIT;
  hspi1.Init.CLKPolarity = SPI_POLARITY_LOW;
  hspi1.Init.CLKPhase = SPI_PHASE_1EDGE;
  hspi1.Init.NSS = SPI_NSS_SOFT;
  hspi1.Init.BaudRatePrescaler = SPI_BAUDRATEPRESCALER_16;
  hspi1.Init.FirstBit = SPI_FIRSTBIT_MSB;
  hspi1.Init.TIMode = SPI_TIMODE_DISABLE;
  hspi1.Init.CRCCalculation = SPI_CRCCALCULATION_DISABLE;
  hspi1.Init.CRCPolynomial = 10;
  if (HAL_SPI_Init(&hspi1) != HAL_OK)
  {
    Error_Handler();
  }

}

static void MX_TIM1_Init(void)
{

  TIM_ClockConfigTypeDef sClockSourceConfig = {0};
  TIM_MasterConfigTypeDef sMasterConfig = {0};
  TIM_OC_InitTypeDef sConfigOC = {0};
  TIM_BreakDeadTimeConfigTypeDef sBreakDeadTimeConfig = {0};

  htim1.Instance = TIM1;
  htim1.Init.Prescaler = 24;
  htim1.Init.CounterMode = TIM_COUNTERMODE_UP;
  htim1.Init.Period = 9999;
  htim1.Init.ClockDivision = TIM_CLOCKDIVISION_DIV1;
  htim1.Init.RepetitionCounter = 0;
  htim1.Init.AutoReloadPreload = TIM_AUTORELOAD_PRELOAD_DISABLE;
  if (HAL_TIM_Base_Init(&htim1) != HAL_OK)
  {
    Error_Handler();
  }
  sClockSourceConfig.ClockSource = TIM_CLOCKSOURCE_INTERNAL;
  if (HAL_TIM_ConfigClockSource(&htim1, &sClockSourceConfig) != HAL_OK)
  {
    Error_Handler();
  }
  if (HAL_TIM_PWM_Init(&htim1) != HAL_OK)
  {
    Error_Handler();
  }
  sMasterConfig.MasterOutputTrigger = TIM_TRGO_RESET;
  sMasterConfig.MasterSlaveMode = TIM_MASTERSLAVEMODE_DISABLE;
  if (HAL_TIMEx_MasterConfigSynchronization(&htim1, &sMasterConfig) != HAL_OK)
  {
    Error_Handler();
  }
  sConfigOC.OCMode = TIM_OCMODE_PWM1;
  sConfigOC.Pulse = 0;
  sConfigOC.OCPolarity = TIM_OCPOLARITY_HIGH;
  sConfigOC.OCNPolarity = TIM_OCNPOLARITY_HIGH;
  sConfigOC.OCFastMode = TIM_OCFAST_DISABLE;
  sConfigOC.OCIdleState = TIM_OCIDLESTATE_RESET;
  sConfigOC.OCNIdleState = TIM_OCNIDLESTATE_RESET;
  if (HAL_TIM_PWM_ConfigChannel(&htim1, &sConfigOC, TIM_CHANNEL_1) != HAL_OK)
  {
    Error_Handler();
  }
  if (HAL_TIM_PWM_ConfigChannel(&htim1, &sConfigOC, TIM_CHANNEL_2) != HAL_OK)
  {
    Error_Handler();
  }
  sBreakDeadTimeConfig.OffStateRunMode = TIM_OSSR_DISABLE;
  sBreakDeadTimeConfig.OffStateIDLEMode = TIM_OSSI_DISABLE;
  sBreakDeadTimeConfig.LockLevel = TIM_LOCKLEVEL_OFF;
  sBreakDeadTimeConfig.DeadTime = 0;
  sBreakDeadTimeConfig.BreakState = TIM_BREAK_DISABLE;
  sBreakDeadTimeConfig.BreakPolarity = TIM_BREAKPOLARITY_HIGH;
  sBreakDeadTimeConfig.AutomaticOutput = TIM_AUTOMATICOUTPUT_DISABLE;
  if (HAL_TIMEx_ConfigBreakDeadTime(&htim1, &sBreakDeadTimeConfig) != HAL_OK)
  {
    Error_Handler();
  }
  HAL_TIM_MspPostInit(&htim1);

}

static void MX_TIM2_Init(void)
{

  TIM_Encoder_InitTypeDef sConfig = {0};
  TIM_MasterConfigTypeDef sMasterConfig = {0};

  htim2.Instance = TIM2;
  htim2.Init.Prescaler = 0;
  htim2.Init.CounterMode = TIM_COUNTERMODE_DOWN;
  htim2.Init.Period = 65535;
  htim2.Init.ClockDivision = TIM_CLOCKDIVISION_DIV1;
  htim2.Init.AutoReloadPreload = TIM_AUTORELOAD_PRELOAD_DISABLE;
  sConfig.EncoderMode = TIM_ENCODERMODE_TI1;
  sConfig.IC1Polarity = TIM_ICPOLARITY_RISING;
  sConfig.IC1Selection = TIM_ICSELECTION_DIRECTTI;
  sConfig.IC1Prescaler = TIM_ICPSC_DIV1;
  sConfig.IC1Filter = 2;
  sConfig.IC2Polarity = TIM_ICPOLARITY_RISING;
  sConfig.IC2Selection = TIM_ICSELECTION_DIRECTTI;
  sConfig.IC2Prescaler = TIM_ICPSC_DIV1;
  sConfig.IC2Filter = 2;
  if (HAL_TIM_Encoder_Init(&htim2, &sConfig) != HAL_OK)
  {
    Error_Handler();
  }
  sMasterConfig.MasterOutputTrigger = TIM_TRGO_RESET;
  sMasterConfig.MasterSlaveMode = TIM_MASTERSLAVEMODE_DISABLE;
  if (HAL_TIMEx_MasterConfigSynchronization(&htim2, &sMasterConfig) != HAL_OK)
  {
    Error_Handler();
  }

}

static void MX_TIM3_Init(void)
{

  TIM_Encoder_InitTypeDef sConfig = {0};
  TIM_MasterConfigTypeDef sMasterConfig = {0};

  htim3.Instance = TIM3;
  htim3.Init.Prescaler = 0;
  htim3.Init.CounterMode = TIM_COUNTERMODE_UP;
  htim3.Init.Period = 65535;
  htim3.Init.ClockDivision = TIM_CLOCKDIVISION_DIV1;
  htim3.Init.AutoReloadPreload = TIM_AUTORELOAD_PRELOAD_DISABLE;
  sConfig.EncoderMode = TIM_ENCODERMODE_TI1;
  sConfig.IC1Polarity = TIM_ICPOLARITY_RISING;
  sConfig.IC1Selection = TIM_ICSELECTION_DIRECTTI;
  sConfig.IC1Prescaler = TIM_ICPSC_DIV1;
  sConfig.IC1Filter = 2;
  sConfig.IC2Polarity = TIM_ICPOLARITY_RISING;
  sConfig.IC2Selection = TIM_ICSELECTION_DIRECTTI;
  sConfig.IC2Prescaler = TIM_ICPSC_DIV1;
  sConfig.IC2Filter = 2;
  if (HAL_TIM_Encoder_Init(&htim3, &sConfig) != HAL_OK)
  {
    Error_Handler();
  }
  sMasterConfig.MasterOutputTrigger = TIM_TRGO_RESET;
  sMasterConfig.MasterSlaveMode = TIM_MASTERSLAVEMODE_DISABLE;
  if (HAL_TIMEx_MasterConfigSynchronization(&htim3, &sMasterConfig) != HAL_OK)
  {
    Error_Handler();
  }

}

static void MX_TIM10_Init(void)
{

  htim10.Instance = TIM10;
  htim10.Init.Prescaler = 1999;
  htim10.Init.CounterMode = TIM_COUNTERMODE_UP;
  htim10.Init.Period = 999;
  htim10.Init.ClockDivision = TIM_CLOCKDIVISION_DIV1;
  htim10.Init.AutoReloadPreload = TIM_AUTORELOAD_PRELOAD_DISABLE;
  if (HAL_TIM_Base_Init(&htim10) != HAL_OK)
  {
    Error_Handler();
  }

}

static void MX_TIM11_Init(void)
{

  htim11.Instance = TIM11;
  htim11.Init.Prescaler = 4799;
  htim11.Init.CounterMode = TIM_COUNTERMODE_UP;
  htim11.Init.Period = 9999;
  htim11.Init.ClockDivision = TIM_CLOCKDIVISION_DIV1;
  htim11.Init.AutoReloadPreload = TIM_AUTORELOAD_PRELOAD_DISABLE;
  if (HAL_TIM_Base_Init(&htim11) != HAL_OK)
  {
    Error_Handler();
  }

}

static void MX_USART1_UART_Init(void)
{

  huart1.Instance = USART1;
  huart1.Init.BaudRate = 9600;
  huart1.Init.WordLength = UART_WORDLENGTH_8B;
  huart1.Init.StopBits = UART_STOPBITS_1;
  huart1.Init.Parity = UART_PARITY_NONE;
  huart1.Init.Mode = UART_MODE_TX_RX;
  huart1.Init.HwFlowCtl = UART_HWCONTROL_NONE;
  huart1.Init.OverSampling = UART_OVERSAMPLING_16;
  if (HAL_UART_Init(&huart1) != HAL_OK)
  {
    Error_Handler();
  }

}

static void MX_USART6_UART_Init(void)
{

  huart6.Instance = USART6;
  huart6.Init.BaudRate = 115200;
  huart6.Init.WordLength = UART_WORDLENGTH_8B;
  huart6.Init.StopBits = UART_STOPBITS_1;
  huart6.Init.Parity = UART_PARITY_NONE;
  huart6.Init.Mode = UART_MODE_TX_RX;
  huart6.Init.HwFlowCtl = UART_HWCONTROL_NONE;
  huart6.Init.OverSampling = UART_OVERSAMPLING_16;
  if (HAL_UART_Init(&huart6) != HAL_OK)
  {
    Error_Handler();
  }

}

static void MX_DMA_Init(void)
{

  /* DMA controller clock enable */
  __HAL_RCC_DMA2_CLK_ENABLE();

  /* DMA interrupt init */
  /* DMA2_Stream0_IRQn interrupt configuration */
  HAL_NVIC_SetPriority(DMA2_Stream0_IRQn, 0, 0);
  HAL_NVIC_EnableIRQ(DMA2_Stream0_IRQn);

}

static void MX_GPIO_Init(void)
{
  GPIO_InitTypeDef GPIO_InitStruct = {0};

  /* GPIO Ports Clock Enable */
  __HAL_RCC_GPIOC_CLK_ENABLE();
  __HAL_RCC_GPIOH_CLK_ENABLE();
  __HAL_RCC_GPIOA_CLK_ENABLE();
  __HAL_RCC_GPIOB_CLK_ENABLE();
  __HAL_RCC_GPIOD_CLK_ENABLE();

  /*Configure GPIO pin Output Level */
  HAL_GPIO_WritePin(GPIOC, PT_A_Pin|PT_B_Pin|PT_C_Pin|VL_XSHUT_R_Pin
                          |L_IN1_Pin|L_IN2_Pin|VL_XSHUT_L_Pin|VL_XSHUT_F_Pin
                          |IMU_CS_Pin, GPIO_PIN_RESET);

  /*Configure GPIO pin Output Level */
  HAL_GPIO_WritePin(GPIOB, LED_3_Pin|LED_2_Pin|LED_1_Pin|IR_C_Pin
                          |IR_B_Pin|IR_A_Pin, GPIO_PIN_RESET);

  /*Configure GPIO pin Output Level */
  HAL_GPIO_WritePin(GPIOA, R_IN2_Pin|R_IN1_Pin, GPIO_PIN_RESET);

  /*Configure GPIO pins : PT_A_Pin PT_B_Pin PT_C_Pin */
  GPIO_InitStruct.Pin = PT_A_Pin|PT_B_Pin|PT_C_Pin;
  GPIO_InitStruct.Mode = GPIO_MODE_OUTPUT_PP;
  GPIO_InitStruct.Pull = GPIO_PULLDOWN;
  GPIO_InitStruct.Speed = GPIO_SPEED_FREQ_LOW;
  HAL_GPIO_Init(GPIOC, &GPIO_InitStruct);

  /*Configure GPIO pin : BUT_1_Pin */
  GPIO_InitStruct.Pin = BUT_1_Pin;
  GPIO_InitStruct.Mode = GPIO_MODE_INPUT;
  GPIO_InitStruct.Pull = GPIO_NOPULL;
  HAL_GPIO_Init(BUT_1_GPIO_Port, &GPIO_InitStruct);

  /*Configure GPIO pins : VL_INT_R_Pin VL_INT_F_Pin VL_INT_L_Pin */
  GPIO_InitStruct.Pin = VL_INT_R_Pin|VL_INT_F_Pin|VL_INT_L_Pin;
  GPIO_InitStruct.Mode = GPIO_MODE_IT_RISING;
  GPIO_InitStruct.Pull = GPIO_NOPULL;
  HAL_GPIO_Init(GPIOC, &GPIO_InitStruct);

  /*Configure GPIO pins : VL_XSHUT_R_Pin L_IN1_Pin L_IN2_Pin VL_XSHUT_L_Pin
                           VL_XSHUT_F_Pin IMU_CS_Pin */
  GPIO_InitStruct.Pin = VL_XSHUT_R_Pin|L_IN1_Pin|L_IN2_Pin|VL_XSHUT_L_Pin
                          |VL_XSHUT_F_Pin|IMU_CS_Pin;
  GPIO_InitStruct.Mode = GPIO_MODE_OUTPUT_PP;
  GPIO_InitStruct.Pull = GPIO_NOPULL;
  GPIO_InitStruct.Speed = GPIO_SPEED_FREQ_LOW;
  HAL_GPIO_Init(GPIOC, &GPIO_InitStruct);

  /*Configure GPIO pins : LED_3_Pin LED_2_Pin LED_1_Pin */
  GPIO_InitStruct.Pin = LED_3_Pin|LED_2_Pin|LED_1_Pin;
  GPIO_InitStruct.Mode = GPIO_MODE_OUTPUT_PP;
  GPIO_InitStruct.Pull = GPIO_PULLUP;
  GPIO_InitStruct.Speed = GPIO_SPEED_FREQ_LOW;
  HAL_GPIO_Init(GPIOB, &GPIO_InitStruct);

  /*Configure GPIO pins : IR_C_Pin IR_B_Pin IR_A_Pin */
  GPIO_InitStruct.Pin = IR_C_Pin|IR_B_Pin|IR_A_Pin;
  GPIO_InitStruct.Mode = GPIO_MODE_OUTPUT_PP;
  GPIO_InitStruct.Pull = GPIO_PULLDOWN;
  GPIO_InitStruct.Speed = GPIO_SPEED_FREQ_LOW;
  HAL_GPIO_Init(GPIOB, &GPIO_InitStruct);

  /*Configure GPIO pins : R_IN2_Pin R_IN1_Pin */
  GPIO_InitStruct.Pin = R_IN2_Pin|R_IN1_Pin;
  GPIO_InitStruct.Mode = GPIO_MODE_OUTPUT_PP;
  GPIO_InitStruct.Pull = GPIO_NOPULL;
  GPIO_InitStruct.Speed = GPIO_SPEED_FREQ_LOW;
  HAL_GPIO_Init(GPIOA, &GPIO_InitStruct);

  /*Configure GPIO pin : BUT_2_Pin */
  GPIO_InitStruct.Pin = BUT_2_Pin;
  GPIO_InitStruct.Mode = GPIO_MODE_IT_RISING;
  GPIO_InitStruct.Pull = GPIO_NOPULL;
  HAL_GPIO_Init(BUT_2_GPIO_Port, &GPIO_InitStruct);

  /*Configure GPIO pin : IMU_INT_Pin */
  GPIO_InitStruct.Pin = IMU_INT_Pin;
  GPIO_InitStruct.Mode = GPIO_MODE_INPUT;
  GPIO_InitStruct.Pull = GPIO_NOPULL;
  HAL_GPIO_Init(IMU_INT_GPIO_Port, &GPIO_InitStruct);

  /* EXTI interrupt init*/
  HAL_NVIC_SetPriority(EXTI0_IRQn, 0, 0);
  HAL_NVIC_EnableIRQ(EXTI0_IRQn);

  HAL_NVIC_SetPriority(EXTI1_IRQn, 0, 0);
  HAL_NVIC_EnableIRQ(EXTI1_IRQn);

  HAL_NVIC_SetPriority(EXTI2_IRQn, 0, 0);
  HAL_NVIC_EnableIRQ(EXTI2_IRQn);

  HAL_NVIC_SetPriority(EXTI15_10_IRQn, 0, 0);
  HAL_NVIC_EnableIRQ(EXTI15_10_IRQn);

}

void Error_Handler(void)
{
}

/************************ (C) COPYRIGHT STMicroelectronics *****END OF FILE****/
